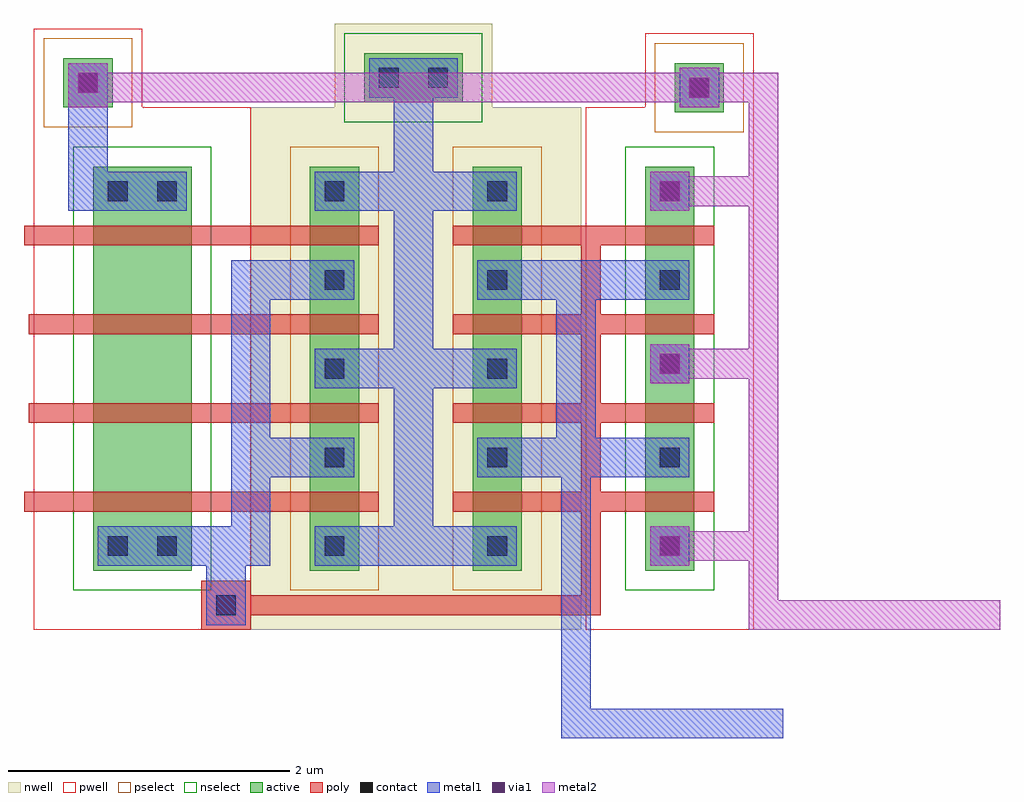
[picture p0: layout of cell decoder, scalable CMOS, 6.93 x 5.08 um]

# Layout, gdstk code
import gdstk
lib = gdstk.Library(unit=1e-6, precision=1e-09)
def R(c, l, rs):  # rectangles x0, y0, x1, y1
    for r in rs: c.add(gdstk.rectangle(r[:2], r[2:], *l))
def A(c, l, x, y, w, h, nx, ny, dx, dy):  # array of equal rectangles
    R(c, l, [(x+i*dx, y+j*dy, x+i*dx+w, y+j*dy+h) for i in range(nx) for j in range(ny)])
contact = (25, 0)
pwell = (41, 0)
nwell = (42, 0)
active = (43, 0)
pselect = (44, 0)
nselect = (45, 0)
poly = (46, 0)
metal1 = (49, 0)
via1 = (50, 0)
metal2 = (51, 0)

decoder = lib.new_cell('decoder')
A(decoder, contact, 0.525, -2.8, 0.14, 0.14, 1, 5, 0, 0.63)
A(decoder, contact, 1.68, -2.8, 0.14, 0.14, 1, 5, 0, 0.63)
R(decoder, contact, [(-0.245,-3.22,-0.105,-3.08), (-1.015,-2.8,-0.875,-2.66), (-0.665,-2.8,-0.525,-2.66), (2.905,-2.8,3.045,-2.66), (2.905,-2.17,3.045,-2.03), (2.905,-1.505,3.045,-1.365), (2.905,-0.91,3.045,-0.77), (-1.015,-0.28,-0.875,-0.14), (-0.665,-0.28,-0.525,-0.14), (2.905,-0.28,3.045,-0.14), (3.115,0.455,3.255,0.595), (-1.225,0.49,-1.085,0.63), (0.91,0.525,1.05,0.665), (1.26,0.525,1.4,0.665)])
A(decoder, pwell, -1.54, -3.115, 1.54, 1.4, 1, 4, 0, 0.63)
A(decoder, pwell, 2.38, -3.115, 1.19, 1.4, 1, 4, 0, 0.63)
A(decoder, pwell, -1.54, -2.677, 1.05, 1.155, 1, 3, 0, 0.63)
A(decoder, pwell, -1.05, -2.677, 1.05, 1.155, 1, 3, 0, 0.63)
A(decoder, pwell, -1.365, -2.047, 1.05, 1.155, 3, 1, 0.07, 0)
R(decoder, pwell, [(-1.54,-3.325,0,-2.135), (2.38,-3.325,3.57,-2.135), (-1.295,-3.255,-0.245,-2.152), (2.45,-3.255,3.5,-2.152), (2.38,-2.695,3.57,-1.505), (-1.365,-2.677,-0.315,-1.522), (-1.26,-2.677,-0.21,-1.522), (-1.225,-2.677,-0.175,-1.522), (2.45,-2.677,3.5,-1.575), (2.45,-2.625,3.5,-1.522), (2.45,-2.047,3.5,-0.91), (2.38,-2.03,3.57,-0.84), (2.45,-1.96,3.5,-0.892), (2.38,-1.435,3.57,-0.245), (-1.365,-1.417,-0.315,-0.262), (-1.26,-1.417,-0.21,-0.262), (-1.225,-1.417,-0.175,-0.262), (2.415,-1.417,3.465,-0.315), (2.45,-1.365,3.5,-0.262), (-1.54,-0.805,0,0.385), (2.38,-0.805,3.57,0.385), (-1.295,-0.787,-0.245,0.315), (2.45,-0.787,3.5,0.315), (2.8,0.14,3.57,0.91), (-1.54,0.175,-0.77,0.945)])
A(decoder, nwell, 0, -3.325, 1.19, 1.19, 1, 5, 0, 0.63)
A(decoder, nwell, 1.155, -3.325, 1.19, 1.19, 1, 5, 0, 0.63)
A(decoder, nwell, 0.07, -3.255, 1.05, 1.103, 1, 3, 0, 0.63)
A(decoder, nwell, 1.225, -3.255, 1.05, 1.103, 1, 3, 0, 0.63)
A(decoder, nwell, 0, -3.115, 1.19, 1.4, 1, 4, 0, 0.63)
A(decoder, nwell, 1.155, -3.115, 1.19, 1.4, 1, 4, 0, 0.63)
R(decoder, nwell, [(0.07,-2.677,1.12,-1.575), (1.225,-2.677,2.275,-1.575), (0.07,-2.047,1.12,-0.945), (1.225,-2.047,2.275,-0.945), (0.035,-1.417,1.085,-0.315), (1.19,-1.417,2.24,-0.315), (0.035,-1.365,1.085,-0.262), (1.19,-1.365,2.24,-0.262), (0.07,-0.787,1.12,0.315), (1.225,-0.787,2.275,0.315), (0.595,0.21,1.715,0.98)])
A(decoder, active, 0.42, -2.905, 0.35, 0.35, 1, 5, 0, 0.63)
A(decoder, active, 1.575, -2.905, 0.35, 0.35, 1, 5, 0, 0.63)
A(decoder, active, 0.49, -2.835, 0.21, 0.263, 1, 3, 0, 0.63)
A(decoder, active, 1.645, -2.835, 0.21, 0.263, 1, 3, 0, 0.63)
A(decoder, active, -1.12, -2.695, 0.7, 0.56, 1, 4, 0, 0.63)
A(decoder, active, 0.42, -2.695, 0.35, 0.56, 1, 4, 0, 0.63)
A(decoder, active, 1.575, -2.695, 0.35, 0.56, 1, 4, 0, 0.63)
A(decoder, active, 2.8, -2.695, 0.35, 0.56, 1, 4, 0, 0.63)
A(decoder, active, -1.12, -2.257, 0.21, 0.315, 1, 3, 0, 0.63)
A(decoder, active, -0.63, -2.257, 0.21, 0.315, 1, 3, 0, 0.63)
A(decoder, active, -0.945, -1.627, 0.21, 0.315, 3, 1, 0.07, 0)
R(decoder, active, [(-1.12,-2.905,-0.42,-2.555), (2.8,-2.905,3.15,-2.555), (-0.875,-2.835,-0.665,-2.572), (2.87,-2.835,3.08,-2.572), (2.8,-2.275,3.15,-1.925), (-0.945,-2.257,-0.735,-1.942), (-0.84,-2.257,-0.63,-1.942), (-0.805,-2.257,-0.595,-1.942), (0.49,-2.257,0.7,-1.995), (1.645,-2.257,1.855,-1.995), (2.87,-2.257,3.08,-1.995), (2.87,-2.205,3.08,-1.942), (0.49,-1.627,0.7,-1.365), (1.645,-1.627,1.855,-1.365), (2.87,-1.627,3.08,-1.33), (2.8,-1.61,3.15,-1.26), (2.87,-1.54,3.08,-1.312), (2.8,-1.015,3.15,-0.665), (-0.945,-0.997,-0.735,-0.682), (-0.84,-0.997,-0.63,-0.682), (-0.805,-0.997,-0.595,-0.682), (0.455,-0.997,0.665,-0.735), (1.61,-0.997,1.82,-0.735), (2.835,-0.997,3.045,-0.735), (0.455,-0.945,0.665,-0.682), (1.61,-0.945,1.82,-0.682), (2.87,-0.945,3.08,-0.682), (-1.12,-0.385,-0.42,-0.035), (2.8,-0.385,3.15,-0.035), (-0.875,-0.367,-0.665,-0.105), (0.49,-0.367,0.7,-0.105), (1.645,-0.367,1.855,-0.105), (2.87,-0.367,3.08,-0.105), (3.01,0.35,3.36,0.7), (-1.33,0.385,-0.98,0.735), (0.805,0.42,1.505,0.77)])
A(decoder, pselect, 0.28, -3.045, 0.63, 0.63, 1, 5, 0, 0.63)
A(decoder, pselect, 1.435, -3.045, 0.63, 0.63, 1, 5, 0, 0.63)
A(decoder, pselect, 0.35, -2.975, 0.49, 0.543, 1, 3, 0, 0.63)
A(decoder, pselect, 1.505, -2.975, 0.49, 0.543, 1, 3, 0, 0.63)
A(decoder, pselect, 0.28, -2.835, 0.63, 0.84, 1, 4, 0, 0.63)
A(decoder, pselect, 1.435, -2.835, 0.63, 0.84, 1, 4, 0, 0.63)
R(decoder, pselect, [(0.35,-2.397,0.84,-1.855), (1.505,-2.397,1.995,-1.855), (0.35,-1.767,0.84,-1.225), (1.505,-1.767,1.995,-1.225), (0.315,-1.137,0.805,-0.595), (1.47,-1.137,1.96,-0.595), (0.315,-1.085,0.805,-0.542), (1.47,-1.085,1.96,-0.542), (0.35,-0.507,0.84,0.035), (1.505,-0.507,1.995,0.035), (2.87,0.21,3.5,0.84), (-1.47,0.245,-0.84,0.875)])
A(decoder, nselect, -1.26, -2.835, 0.98, 0.84, 1, 4, 0, 0.63)
A(decoder, nselect, 2.66, -2.835, 0.63, 0.84, 1, 4, 0, 0.63)
A(decoder, nselect, -1.26, -2.397, 0.49, 0.595, 1, 3, 0, 0.63)
A(decoder, nselect, -0.77, -2.397, 0.49, 0.595, 1, 3, 0, 0.63)
A(decoder, nselect, -1.085, -1.767, 0.49, 0.595, 3, 1, 0.07, 0)
R(decoder, nselect, [(-1.26,-3.045,-0.28,-2.415), (2.66,-3.045,3.29,-2.415), (-1.015,-2.975,-0.525,-2.432), (2.73,-2.975,3.22,-2.432), (2.66,-2.415,3.29,-1.785), (-1.085,-2.397,-0.595,-1.802), (-0.98,-2.397,-0.49,-1.802), (-0.945,-2.397,-0.455,-1.802), (2.73,-2.397,3.22,-1.855), (2.73,-2.345,3.22,-1.802), (2.73,-1.767,3.22,-1.19), (2.66,-1.75,3.29,-1.12), (2.73,-1.68,3.22,-1.172), (2.66,-1.155,3.29,-0.525), (-1.085,-1.137,-0.595,-0.542), (-0.98,-1.137,-0.49,-0.542), (-0.945,-1.137,-0.455,-0.542), (2.695,-1.137,3.185,-0.595), (2.73,-1.085,3.22,-0.542), (-1.26,-0.525,-0.28,0.105), (2.66,-0.525,3.29,0.105), (-1.015,-0.507,-0.525,0.035), (2.73,-0.507,3.22,0.035), (0.665,0.28,1.645,0.91)])
A(decoder, poly, -1.26, -2.485, 0.98, 0.14, 1, 4, 0, 0.63)
A(decoder, poly, -0.35, -2.485, 0.7, 0.14, 1, 4, 0, 0.63)
A(decoder, poly, 0.28, -2.485, 0.63, 0.14, 1, 4, 0, 0.63)
A(decoder, poly, 1.435, -2.485, 0.63, 0.14, 1, 4, 0, 0.63)
A(decoder, poly, 1.995, -2.485, 0.49, 0.14, 1, 4, 0, 0.63)
A(decoder, poly, 2.345, -2.485, 0.385, 0.14, 1, 4, 0, 0.63)
A(decoder, poly, 2.345, -2.485, 0.14, 0.77, 1, 3, 0, 0.63)
A(decoder, poly, 2.66, -2.485, 0.63, 0.14, 1, 4, 0, 0.63)
R(decoder, poly, [(-0.35,-3.325,0,-2.975), (-0.245,-3.22,2.485,-3.08), (2.345,-3.22,2.485,-2.345), (-1.61,-2.485,-1.19,-2.345), (-1.575,-1.855,-1.19,-1.715), (-0.35,-1.855,-0.21,-1.715), (-1.575,-1.225,-1.19,-1.085), (0.21,-1.225,0.35,-1.085), (2.59,-1.225,2.73,-1.085), (-1.61,-0.595,-1.19,-0.455), (2.59,-0.595,2.73,-0.455)])
A(decoder, metal1, 0.455, -2.87, 0.28, 0.28, 1, 5, 0, 0.63)
A(decoder, metal1, 0.455, -2.87, 0.84, 0.28, 1, 3, 0, 1.26)
A(decoder, metal1, 1.015, -2.87, 0.875, 0.28, 1, 3, 0, 1.26)
A(decoder, metal1, 1.61, -2.87, 0.28, 0.28, 1, 5, 0, 0.63)
R(decoder, metal1, [(2.205,-4.095,2.415,-3.255), (2.205,-4.095,3.78,-3.885), (2.205,-3.465,2.415,-2.275), (-0.315,-3.29,-0.035,-3.01), (-0.315,-3.29,-0.035,-2.59), (-1.085,-2.87,-0.455,-2.59), (-0.91,-2.87,-0.035,-2.59), (-0.91,-2.87,0.14,-2.59), (-0.14,-2.87,0.14,-1.96), (1.015,-2.87,1.295,-1.33), (2.835,-2.87,3.115,-2.59), (2.835,-2.87,3.115,-2.59), (2.87,-2.835,3.08,-2.625), (2.205,-2.485,2.415,-1.995), (-0.14,-2.24,0.14,-0.7), (-0.14,-2.24,0.735,-1.96), (1.61,-2.24,2.45,-1.96), (2.17,-2.24,2.45,-0.7), (2.17,-2.24,3.115,-1.96), (2.835,-2.24,3.115,-1.96), (1.015,-1.61,1.295,-0.07), (2.835,-1.575,3.115,-1.295), (2.835,-1.575,3.115,-1.295), (2.87,-1.54,3.08,-1.33), (-0.14,-0.98,0.735,-0.7), (1.61,-0.98,2.45,-0.7), (2.135,-0.98,2.45,-0.7), (2.17,-0.98,3.115,-0.7), (2.835,-0.98,3.115,-0.7), (-1.295,-0.35,-0.63,-0.07), (-1.295,-0.35,-1.015,0.7), (-1.085,-0.35,-0.455,-0.07), (1.015,-0.35,1.295,0.735), (2.835,-0.35,3.115,-0.07), (2.835,-0.35,3.115,-0.07), (2.87,-0.315,3.08,-0.105), (3.045,0.385,3.325,0.665), (3.045,0.385,3.325,0.665), (-1.295,0.42,-1.015,0.7), (-1.295,0.42,-1.015,0.7), (3.08,0.42,3.29,0.63), (-1.26,0.455,-1.05,0.665), (0.84,0.455,1.47,0.735), (1.015,0.455,1.295,0.735)])
R(decoder, via1, [(2.905,-2.8,3.045,-2.66), (2.905,-1.505,3.045,-1.365), (2.905,-0.28,3.045,-0.14), (3.115,0.455,3.255,0.595), (-1.225,0.49,-1.085,0.63)])
R(decoder, metal2, [(3.535,-3.325,4.375,-3.115), (3.535,-3.325,3.745,-2.625), (4.165,-3.325,5.32,-3.115), (2.835,-2.87,3.115,-2.59), (2.87,-2.835,3.745,-2.625), (3.535,-2.835,3.745,-1.33), (2.835,-1.575,3.115,-1.295), (2.87,-1.54,3.745,-1.33), (3.535,-1.54,3.745,-0.105), (2.835,-0.35,3.115,-0.07), (2.87,-0.315,3.745,-0.105), (3.535,-0.315,3.745,0.63), (-1.295,0.385,-1.015,0.7), (3.045,0.385,3.325,0.665), (-1.295,0.42,-1.015,0.7), (-1.26,0.42,2.66,0.63), (2.45,0.42,2.66,0.63), (2.45,0.42,3.29,0.63), (3.08,0.42,3.745,0.63), (3.535,0.42,3.745,0.63)])

lib.write_gds('decoder.gds')
